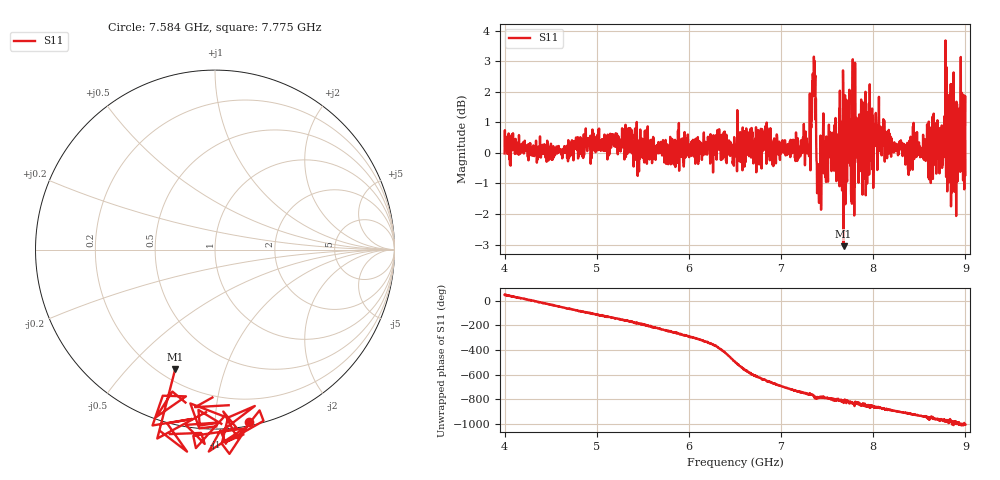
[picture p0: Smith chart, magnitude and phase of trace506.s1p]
! Created with skrf 1.8.0 (http://scikit-rf.org).
# Hz S RI R 50.0
!freq ReS11 ImS11
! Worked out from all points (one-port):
!   1601 points, 4 GHz to 9 GHz, reference 50 ohm
!   lowest |S11| = -3.1 dB at 7.678 GHz (marker M1), VSWR 5.75, Z = 13 - j34.4 ohm
!   |S11| at or under -10 dB: nowhere
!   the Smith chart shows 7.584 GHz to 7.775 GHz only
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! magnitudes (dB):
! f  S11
! 4 GHz  0.0
! 4.625 GHz  -0.2
! 5.25 GHz  0.3
! 5.875 GHz  -0.1
! 6.309 GHz  0.7
! 6.5 GHz  0.0
! 7.125 GHz  0.3
! 7.281 GHz  0.3
! 7.309 GHz  0.8
! 7.353 GHz  1.9
! 7.412 GHz  -1.6
! 7.447 GHz  -0.3
! 7.538 GHz  0.6
! 7.594 GHz  0.7
! 7.65 GHz  0.1
! 7.678 GHz  -3.1
! 7.731 GHz  0.2
! 7.75 GHz  0.0
! 7.775 GHz  1.9
! 7.8 GHz  -1.1
! 7.909 GHz  0.8
! 8.038 GHz  0.5
! 8.375 GHz  -0.3
! 8.728 GHz  -0.3
! 8.8 GHz  0.6
! 8.869 GHz  -1.1
! 8.956 GHz  0.0
! 9 GHz  -0.7
